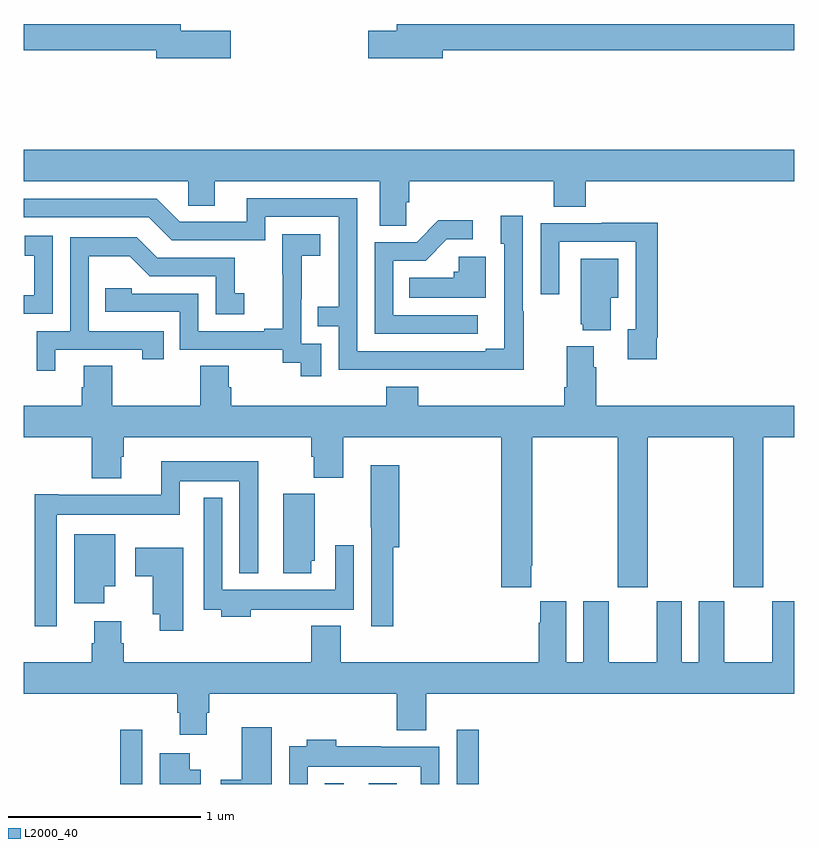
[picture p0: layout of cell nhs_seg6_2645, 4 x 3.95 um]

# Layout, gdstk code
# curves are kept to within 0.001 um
import gdstk
lib = gdstk.Library(unit=1e-6, precision=1e-09)
def R(c, l, rs):  # rectangles x0, y0, x1, y1
    for r in rs: c.add(gdstk.rectangle(r[:2], r[2:], *l))
def P(c, l, *ps):  # polygons
    for p in ps: c.add(gdstk.Polygon(p, *l))
L2000_40 = (2000, 40)

nhs_seg6_2645 = lib.new_cell('nhs_seg6_2645')
R(nhs_seg6_2645, L2000_40, [(267.499,981.5,267.615,981.781), (268.563,981.5,268.66,981.505), (268.79,981.5,268.936,981.505), (269.247,981.5,269.363,981.781)])
P(nhs_seg6_2645, L2000_40, [(268.075,985.412),(267.814,985.412),(267.814,985.448),(267,985.448),(267,985.312),(267.686,985.312),(267.686,985.27),(268.075,985.27)],
  [(269.176,985.312),(271,985.312),(271,985.448),(268.937,985.448),(268.937,985.412),(268.788,985.412),(268.788,985.27),(269.176,985.27)],
  [(268.986,984.523),(269,984.523),(269,984.632),(269.753,984.632),(269.753,984.499),(269.918,984.499),(269.918,984.632),(271,984.632),(271,984.796),(267,984.796),(267,984.632),(267.852,984.632),(267.852,984.505),(267.991,984.505),(267.991,984.632),(268.847,984.632),(268.847,984.4),(268.986,984.4)],
  [(269.595,983.957),(269.592,983.957),(269.592,984.451),(269.477,984.451),(269.477,984.306),(269.496,984.306),(269.496,983.761),(269.399,983.761),(269.399,983.748),(268.731,983.748),(268.731,984.543),(268.157,984.543),(268.157,984.42),(267.81,984.42),(267.69,984.54),(267,984.54),(267,984.444),(267.648,984.444),(267.768,984.324),(268.254,984.324),(268.254,984.447),(268.635,984.447),(268.635,983.978),(268.525,983.978),(268.525,983.877),(268.635,983.877),(268.635,983.652),(269.595,983.651)],
  [(269.356,983.934),(268.917,983.934),(268.917,984.219),(269.086,984.219),(269.197,984.33),(269.332,984.33),(269.332,984.428),(269.153,984.428),(269.04,984.315),(268.821,984.315),(268.821,983.838),(269.356,983.838)],
  [(270.286,983.818),(270.293,983.818),(270.293,984.416),(270.001,984.416),(270.001,984.414),(269.685,984.414),(269.685,984.045),(269.781,984.045),(269.781,984.318),(270.177,984.318),(270.177,983.862),(270.137,983.862),(270.137,983.706),(270.286,983.706)],
  [(268.545,983.787),(268.44,983.787),(268.44,984.017),(268.442,984.017),(268.442,984.245),(268.54,984.245),(268.54,984.355),(268.342,984.355),(268.342,984.149),(268.343,984.149),(268.343,983.866),(268.247,983.866),(268.247,983.853),(267.906,983.853),(267.906,984.048),(267.561,984.048),(267.561,984.075),(267.421,984.075),(267.421,983.952),(267.81,983.952),(267.81,983.757),(268.344,983.757),(268.344,983.689),(268.437,983.689),(268.437,983.619),(268.545,983.619)],
  [(267.15,984.349),(267.004,984.349),(267.004,984.243),(267.053,984.243),(267.053,984.039),(267,984.039),(267,983.943),(267.15,983.943)],
  [(267.163,983.757),(267.614,983.757),(267.614,983.706),(267.725,983.706),(267.725,983.853),(267.336,983.853),(267.336,984.242),(267.55,984.242),(267.654,984.138),(267.996,984.138),(267.996,983.94),(268.144,983.94),(268.144,984.049),(268.095,984.049),(268.095,984.234),(267.691,984.234),(267.586,984.339),(267.24,984.339),(267.24,983.853),(267.066,983.853),(267.066,983.646),(267.163,983.646)],
  [(269.398,984.238),(269.259,984.238),(269.259,984.162),(269.233,984.162),(269.233,984.13),(269.002,984.13),(269.002,984.026),(269.398,984.026)],
  [(270.049,984.026),(270.088,984.026),(270.088,984.229),(269.891,984.229),(269.891,983.889),(269.903,983.889),(269.903,983.858),(270.049,983.858)],
  [(269.635,982.633),(269.64,982.633),(269.64,983.3),(270.085,983.3),(270.085,982.521),(270.24,982.521),(270.24,983.3),(270.685,983.3),(270.685,982.521),(270.84,982.521),(270.84,983.3),(271,983.3),(271,983.464),(269.972,983.464),(269.972,983.666),(269.959,983.666),(269.959,983.773),(269.819,983.773),(269.819,983.56),(269.807,983.56),(269.807,983.464),(269.048,983.464),(269.048,983.563),(268.883,983.563),(268.883,983.464),(268.076,983.464),(268.076,983.562),(268.063,983.562),(268.063,983.672),(267.916,983.672),(267.916,983.464),(267.459,983.464),(267.459,983.672),(267.311,983.672),(267.311,983.562),(267.299,983.562),(267.299,983.464),(267,983.464),(267,983.3),(267.353,983.3),(267.353,983.087),(267.505,983.087),(267.505,983.199),(267.518,983.199),(267.518,983.3),(268.493,983.3),(268.493,983.201),(268.505,983.201),(268.505,983.092),(268.658,983.092),(268.658,983.3),(269.48,983.3),(269.48,982.521),(269.635,982.521)],
  [(267.171,982.898),(267.81,982.898),(267.81,983.072),(268.119,983.072),(268.119,982.595),(268.216,982.595),(268.216,983.176),(267.713,983.176),(267.713,983.002),(267.178,983.002),(267.178,983.005),(267.055,983.005),(267.055,982.32),(267.171,982.32)],
  [(268.919,982.73),(268.949,982.73),(268.949,983.155),(268.802,983.155),(268.802,982.834),(268.803,982.834),(268.803,982.32),(268.919,982.32)],
  [(268.492,982.659),(268.51,982.659),(268.51,983.007),(268.346,983.007),(268.346,982.596),(268.492,982.596)],
  [(268.178,982.404),(268.409,982.404),(268.409,982.406),(268.713,982.406),(268.713,982.741),(268.617,982.741),(268.617,982.51),(268.029,982.51),(268.029,982.987),(267.933,982.987),(267.933,982.404),(268.025,982.404),(268.025,982.37),(268.178,982.37)],
  [(267.418,982.526),(267.475,982.526),(267.475,982.798),(267.26,982.798),(267.26,982.44),(267.418,982.44)],
  [(267.826,982.726),(267.579,982.726),(267.579,982.579),(267.668,982.579),(267.668,982.382),(267.704,982.382),(267.704,982.296),(267.826,982.296)],
  [(267.949,981.87),(267.962,981.87),(267.962,981.968),(268.937,981.968),(268.937,981.779),(269.089,981.779),(269.089,981.968),(271,981.968),(271,982.45),(270.887,982.45),(270.887,982.132),(270.637,982.132),(270.637,982.45),(270.506,982.45),(270.506,982.132),(270.418,982.132),(270.418,982.45),(270.287,982.45),(270.287,982.132),(270.037,982.132),(270.037,982.45),(269.906,982.45),(269.906,982.132),(269.818,982.132),(269.818,982.45),(269.681,982.45),(269.681,982.337),(269.675,982.337),(269.675,982.132),(268.645,982.132),(268.645,982.321),(268.493,982.321),(268.493,982.132),(267.518,982.132),(267.518,982.23),(267.505,982.23),(267.505,982.345),(267.365,982.345),(267.365,982.23),(267.353,982.23),(267.353,982.132),(267,982.132),(267,981.968),(267.797,981.968),(267.797,981.87),(267.809,981.87),(267.809,981.756),(267.949,981.756)],
  [(268.288,981.796),(268.13,981.796),(268.13,981.522),(268.023,981.522),(268.023,981.5),(268.288,981.5)],
  [(268.473,981.59),(269.061,981.59),(269.061,981.5),(269.157,981.5),(269.157,981.694),(268.853,981.694),(268.853,981.697),(268.622,981.697),(268.622,981.73),(268.469,981.73),(268.469,981.697),(268.377,981.697),(268.377,981.5),(268.473,981.5)],
  [(267.919,981.574),(267.862,981.574),(267.862,981.661),(267.704,981.661),(267.704,981.5),(267.919,981.5)])

lib.write_gds('nhs_seg6_2645.gds')
